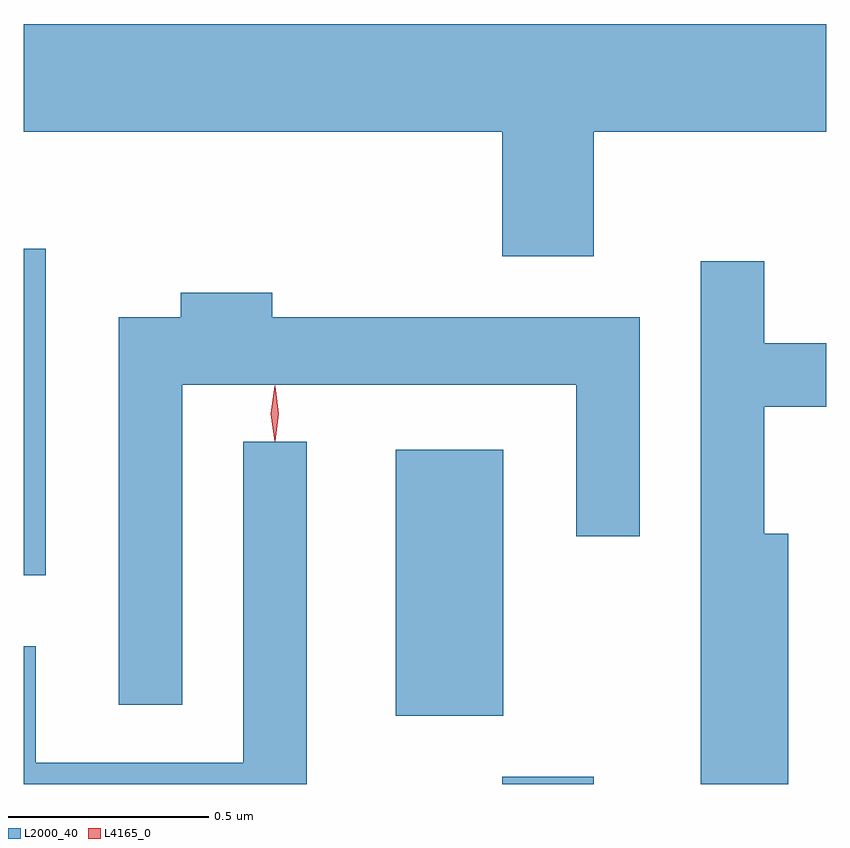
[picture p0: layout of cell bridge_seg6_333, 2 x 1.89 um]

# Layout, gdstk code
import gdstk
lib = gdstk.Library(unit=1e-6, precision=1e-09)
def R(c, l, rs):  # rectangles x0, y0, x1, y1
    for r in rs: c.add(gdstk.rectangle(r[:2], r[2:], *l))
def P(c, l, *ps):  # polygons
    for p in ps: c.add(gdstk.Polygon(p, *l))
L2000_40 = (2000, 40)
L4165_0 = (4165, 0)

bridge_seg6_333 = lib.new_cell('bridge_seg6_333')
R(bridge_seg6_333, L2000_40, [(1322.191,1555.071,1322.419,1555.089), (1321.926,1555.241,1322.194,1555.904), (1320.999,1555.591,1321.054,1556.404)])
P(bridge_seg6_333, L2000_40, [(1322.419,1556.696),(1322.999,1556.696),(1322.999,1556.964),(1320.999,1556.964),(1320.999,1556.696),(1322.191,1556.696),(1322.191,1556.386),(1322.419,1556.386)],
  [(1322.904,1555.694),(1322.844,1555.694),(1322.844,1556.011),(1322.999,1556.011),(1322.999,1556.169),(1322.844,1556.169),(1322.844,1556.373),(1322.686,1556.373),(1322.686,1555.071),(1322.904,1555.071)],
  [(1321.394,1556.066),(1322.376,1556.066),(1322.376,1555.688),(1322.534,1555.688),(1322.534,1556.234),(1321.619,1556.234),(1321.619,1556.294),(1321.391,1556.294),(1321.391,1556.234),(1321.236,1556.234),(1321.236,1555.268),(1321.394,1555.268)],
  [(1321.704,1555.923),(1321.546,1555.923),(1321.546,1555.124),(1321.029,1555.124),(1321.029,1555.414),(1320.999,1555.414),(1320.999,1555.071),(1321.704,1555.071)])
P(bridge_seg6_333, L4165_0, [(1321.625,1555.924),(1321.625,1555.924),(1321.615,1555.993),(1321.625,1556.063),(1321.625,1556.063),(1321.626,1556.063),(1321.635,1555.993),(1321.626,1555.924)])

lib.write_gds('bridge_seg6_333.gds')
